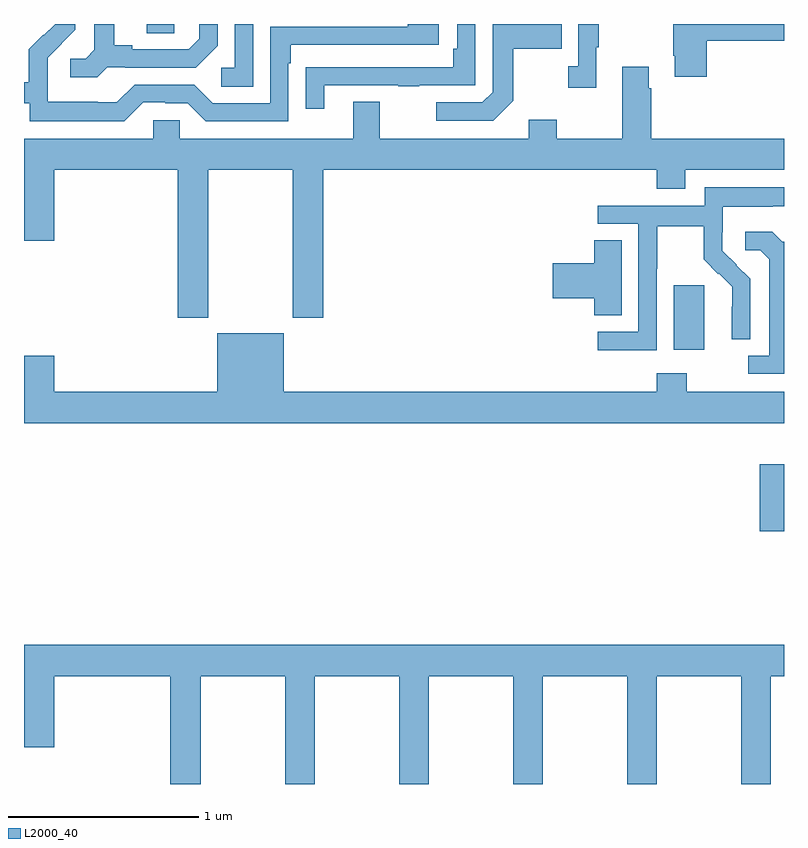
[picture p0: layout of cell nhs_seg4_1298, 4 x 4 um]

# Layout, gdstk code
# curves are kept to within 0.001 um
import gdstk
lib = gdstk.Library(unit=1e-6, precision=1e-09)
def R(c, l, rs):  # rectangles x0, y0, x1, y1
    for r in rs: c.add(gdstk.rectangle(r[:2], r[2:], *l))
def P(c, l, *ps):  # polygons
    for p in ps: c.add(gdstk.Polygon(p, *l))
L2000_40 = (2000, 40)

nhs_seg4_1298 = lib.new_cell('nhs_seg4_1298')
R(nhs_seg4_1298, L2000_40, [(180.872,816.23,181,816.583), (180.419,817.185,180.58,817.525), (177.647,818.851,177.792,818.9)])
P(nhs_seg4_1298, L2000_40, [(178.579,818.577),(178.969,818.577),(178.969,818.572),(179.081,818.572),(179.081,818.577),(179.376,818.577),(179.376,818.9),(179.28,818.9),(179.28,818.77),(179.26,818.77),(179.26,818.673),(178.585,818.673),(178.585,818.672),(178.483,818.672),(178.483,818.454),(178.579,818.454)],
  [(178.206,818.9),(178.11,818.9),(178.11,818.67),(178.038,818.67),(178.038,818.569),(178.206,818.569)],
  [(177.438,818.673),(177.532,818.673),(177.532,818.67),(177.904,818.67),(178.02,818.786),(178.02,818.9),(177.923,818.9),(177.923,818.823),(177.866,818.766),(177.571,818.766),(177.571,818.789),(177.475,818.789),(177.475,818.9),(177.371,818.9),(177.371,818.765),(177.324,818.718),(177.243,818.718),(177.243,818.621),(177.386,818.621)],
  [(177.627,818.487),(177.743,818.487),(177.743,818.484),(177.861,818.484),(177.957,818.388),(178.392,818.388),(178.392,818.693),(178.405,818.693),(178.405,818.79),(179.182,818.79),(179.182,818.9),(179.021,818.9),(179.021,818.886),(178.296,818.886),(178.296,818.484),(177.993,818.484),(177.897,818.58),(177.582,818.58),(177.489,818.487),(177.389,818.487),(177.389,818.491),(177.126,818.491),(177.126,818.625),(177.124,818.625),(177.124,818.722),(177.27,818.87),(177.27,818.9),(177.164,818.9),(177.105,818.841),(177.102,818.844),(177.025,818.767),(177.025,818.593),(177,818.593),(177,818.484),(177.03,818.484),(177.03,818.387),(177.527,818.387)],
  [(179.575,818.497),(179.575,818.77),(179.831,818.77),(179.831,818.9),(179.466,818.9),(179.466,818.541),(179.412,818.487),(179.169,818.487),(179.169,818.391),(179.469,818.391)],
  [(180.593,818.812),(181,818.812),(181,818.9),(180.418,818.9),(180.418,818.734),(180.425,818.734),(180.425,818.622),(180.593,818.622)],
  [(180.013,818.777),(180.025,818.777),(180.025,818.9),(179.916,818.9),(179.916,818.678),(179.865,818.678),(179.865,818.565),(180.013,818.565)],
  [(177.969,818.132),(178.414,818.132),(178.414,817.353),(178.574,817.353),(178.574,818.132),(180.329,818.132),(180.329,818.033),(180.481,818.033),(180.481,818.132),(181,818.132),(181,818.296),(180.302,818.296),(180.302,818.561),(180.289,818.561),(180.289,818.674),(180.149,818.674),(180.149,818.296),(179.805,818.296),(179.805,818.395),(179.657,818.395),(179.657,818.296),(178.873,818.296),(178.873,818.491),(178.733,818.491),(178.733,818.296),(177.819,818.296),(177.819,818.394),(177.681,818.394),(177.681,818.296),(177,818.296),(177,817.758),(177.16,817.758),(177.16,818.132),(177.809,818.132),(177.809,817.353),(177.969,817.353)],
  [(180.33,817.612),(180.333,817.612),(180.333,817.836),(180.577,817.836),(180.577,817.661),(180.654,817.584),(180.657,817.587),(180.728,817.517),(180.728,817.412),(180.725,817.412),(180.725,817.24),(180.822,817.24),(180.822,817.558),(180.676,817.706),(180.676,817.803),(180.678,817.803),(180.678,817.937),(180.941,817.937),(180.941,817.941),(181,817.941),(181,818.041),(180.582,818.041),(180.582,817.944),(180.021,817.944),(180.021,817.848),(180.234,817.848),(180.234,817.281),(180.021,817.281),(180.021,817.183),(180.33,817.183)],
  [(181,817.755),(180.99,817.755),(180.938,817.807),(180.795,817.807),(180.795,817.71),(180.876,817.71),(180.923,817.663),(180.923,817.155),(180.813,817.155),(180.813,817.059),(181,817.059)],
  [(180.145,817.763),(180.002,817.763),(180.002,817.64),(179.784,817.64),(179.784,817.457),(180.002,817.457),(180.002,817.366),(180.145,817.366)],
  [(181,816.964),(180.489,816.964),(180.489,817.063),(180.329,817.063),(180.329,816.964),(178.366,816.964),(178.366,817.273),(178.016,817.273),(178.016,816.964),(177.16,816.964),(177.16,817.153),(177,817.153),(177,816.8),(181,816.8)],
  [(177.93,815.468),(178.375,815.468),(178.375,814.9),(178.53,814.9),(178.53,815.468),(178.975,815.468),(178.975,814.9),(179.13,814.9),(179.13,815.468),(179.575,815.468),(179.575,814.9),(179.73,814.9),(179.73,815.468),(180.175,815.468),(180.175,814.9),(180.33,814.9),(180.33,815.468),(180.775,815.468),(180.775,814.9),(180.93,814.9),(180.93,815.468),(181,815.468),(181,815.632),(177,815.632),(177,815.094),(177.16,815.094),(177.16,815.468),(177.77,815.468),(177.77,814.9),(177.93,814.9)])

lib.write_gds('nhs_seg4_1298.gds')
